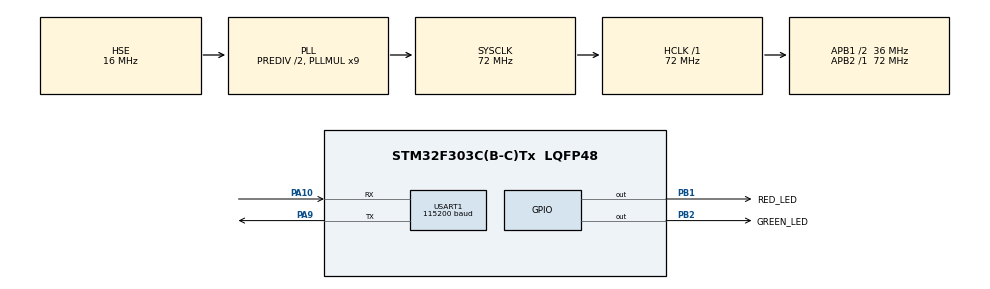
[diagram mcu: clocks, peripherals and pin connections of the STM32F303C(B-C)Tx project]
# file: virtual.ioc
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Mcu.Family=STM32F3
Mcu.Name=STM32F303C(B-C)Tx
Mcu.Package=LQFP48
NVIC.PriorityGroup=NVIC_PRIORITYGROUP_4
PA10.Mode=Asynchronous
PA10.Signal=USART1_RX
PA13.Mode=Serial_Wire
PA13.Signal=SYS_JTMS-SWDIO
PA14.Mode=Serial_Wire
PA14.Signal=SYS_JTCK-SWCLK
PA9.Mode=Asynchronous
PA9.Signal=USART1_TX
PB1.GPIO_Label=RED_LED
PB1.Signal=GPIO_Output
PB2.GPIO_Label=GREEN_LED
PB2.Signal=GPIO_Output
PF0-OSC_IN.Mode=HSE-External-Oscillator
PF0-OSC_IN.Signal=RCC_OSC_IN
PF1-OSC_OUT.Mode=HSE-External-Oscillator
PF1-OSC_OUT.Signal=RCC_OSC_OUT
ProjectManager.HeapSize=0x200
ProjectManager.StackSize=0x400
ProjectManager.TargetToolchain=MDK-ARM V5.32
RCC.AHBFreq_Value=72000000
RCC.APB1CLKDivider=RCC_HCLK_DIV2
RCC.APB1Freq_Value=36000000
RCC.APB1TimFreq_Value=72000000
RCC.APB2Freq_Value=72000000
RCC.APB2TimFreq_Value=72000000
RCC.CortexFreq_Value=72000000
RCC.HCLKFreq_Value=72000000
RCC.HSE_VALUE=16000000
RCC.HSI_VALUE=8000000
RCC.LSE_VALUE=32768
RCC.PLLMUL=RCC_PLL_MUL9
RCC.PLLSourceVirtual=RCC_PLLSOURCE_HSE
RCC.RCC_PLLsource_Clock_Source_FROM_HSE=RCC_HSE_PREDIV_DIV2
RCC.SYSCLKFreq_VALUE=72000000
RCC.SYSCLKSourceVirtual=RCC_SYSCLKSOURCE_PLLCLK
RCC.USBFreq_Value=72000000
USART1.BaudRate=115200
USART1.VirtualMode-Asynchronous=VM_ASYNC
board=custom

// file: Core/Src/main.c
/* USER CODE BEGIN Header */
/**
  ******************************************************************************
  * @file           : main.c
  * @brief          : Main program body
  ******************************************************************************
  * @attention
  *
  * Copyright (c) 2023 STMicroelectronics.
  * All rights reserved.
  *
  * This software is licensed under terms that can be found in the LICENSE file
  * in the root directory of this software component.
  * If no LICENSE file comes with this software, it is provided AS-IS.
  *
  ******************************************************************************
  */
/* USER CODE END Header */
#include "main.h"

/* USER CODE BEGIN Includes */
#include "stdio.h"
#include "eeprom.h"
/* USER CODE END Includes */

UART_HandleTypeDef huart1;

void SystemClock_Config(void);
static void MX_GPIO_Init(void);
static void MX_USART1_UART_Init(void);

/* USER CODE BEGIN 0 */

#ifdef __GNUC__
/* With GCC, small printf (option LD Linker->Libraries->Small printf
   set to 'Yes') calls __io_putchar() */
#define PUTCHAR_PROTOTYPE int __io_putchar(int ch)
#else
#define PUTCHAR_PROTOTYPE int fputc(int ch, FILE *f)
#endif /* __GNUC__ */

/**
  * @brief  Retargets the C library printf function to the USART.
  * @param  None
  * @retval None
  */
PUTCHAR_PROTOTYPE
{
  /* Place your implementation of fputc here */
  /* e.g. write a character to the USART2 and Loop until the end of transmission */
  HAL_UART_Transmit(&huart1, (uint8_t *)&ch, 1, 0xFFFF);

  return ch;
}

uint16_t VirtAddVarTab[NB_OF_VAR];
uint16_t VarDataTab[NB_OF_VAR] = {0x00, 0x01, 0x02, 0x03, 0x04, 0x05, 0x06, 0x07, 0x08, 0x09, 0x0A, 0x0B, 0x0C, 0x0D, 0x0E, 0x0F, 0x10, 0x11, 0x12, 0x13, 0x14, 0x15, 0x16, 0x17, 0x18, 0x19, 0xA0, 0xB0, 0xC0, 0xD0, 0xE0};
uint8_t VarDataTabRead[NB_OF_VAR];
uint16_t VarIndex,VarDataTmp = 0;

/* USER CODE END 0 */

int main(void)
{

  /* MCU Configuration--------------------------------------------------------*/

  /* Reset of all peripherals, Initializes the Flash interface and the Systick. */
  HAL_Init();

  /* Configure the system clock */
  SystemClock_Config();

  /* Initialize all configured peripherals */
  MX_GPIO_Init();
  MX_USART1_UART_Init();
  /* USER CODE BEGIN 2 */

	HAL_FLASH_Unlock();

	HAL_GPIO_WritePin(GREEN_LED_GPIO_Port, GREEN_LED_Pin, GPIO_PIN_RESET);

	/* EEPROM Init */
	if( EE_Init() != HAL_OK)
	{
	  Error_Handler();
	}

		// Fill EEPROM variables addresses
	for(VarIndex = 1; VarIndex <= NB_OF_VAR; VarIndex++)
	{
		  VirtAddVarTab[VarIndex-1] = VarIndex;
	}

	// Store Values in EEPROM emulation
	printf( "Store values\n\r");

	for (VarIndex = 0; VarIndex < NB_OF_VAR; VarIndex++)
		VarDataTab[VarIndex] = VarIndex;

	HAL_GPIO_WritePin(GREEN_LED_GPIO_Port, GREEN_LED_Pin, GPIO_PIN_RESET);
	for (VarIndex = 0; VarIndex < NB_OF_VAR; VarIndex++)
	{
    /* Sequence 1 */
		if((EE_WriteVariable(VirtAddVarTab[VarIndex],  VarDataTab[VarIndex])) != HAL_OK)
		{
			Error_Handler();
		}
	}
	HAL_GPIO_WritePin(GREEN_LED_GPIO_Port, GREEN_LED_Pin, GPIO_PIN_SET);

	// Read values
	printf("Read values\n\r");
	HAL_GPIO_WritePin(GREEN_LED_GPIO_Port, GREEN_LED_Pin, GPIO_PIN_RESET);
	for (VarIndex = 0; VarIndex < NB_OF_VAR; VarIndex++)
	{
		  if((EE_ReadVariable(VirtAddVarTab[VarIndex],  (uint16_t *)&VarDataTabRead[VarIndex])) != HAL_OK)
		  {
			  Error_Handler();
		  }
	}
	HAL_GPIO_WritePin(GREEN_LED_GPIO_Port, GREEN_LED_Pin, GPIO_PIN_SET);

	printf("Read table: ");
	HAL_UART_Transmit(&huart1, VarDataTabRead, NB_OF_VAR, 1000);
	printf("\n\r");

  /* USER CODE END 2 */

  /* Infinite loop */
  /* USER CODE BEGIN WHILE */
  while (1)
  {
		HAL_GPIO_TogglePin(GPIOB, GPIO_PIN_2);
		printf("labas\n");
		HAL_Delay(1000);
    /* USER CODE END WHILE */

  }
}

void SystemClock_Config(void)
{
  RCC_OscInitTypeDef RCC_OscInitStruct = {0};
  RCC_ClkInitTypeDef RCC_ClkInitStruct = {0};
  RCC_PeriphCLKInitTypeDef PeriphClkInit = {0};

  /** Initializes the RCC Oscillators according to the specified parameters
  * in the RCC_OscInitTypeDef structure.
  */
  RCC_OscInitStruct.OscillatorType = RCC_OSCILLATORTYPE_HSE;
  RCC_OscInitStruct.HSEState = RCC_HSE_ON;
  RCC_OscInitStruct.HSEPredivValue = RCC_HSE_PREDIV_DIV2;
  RCC_OscInitStruct.HSIState = RCC_HSI_ON;
  RCC_OscInitStruct.PLL.PLLState = RCC_PLL_ON;
  RCC_OscInitStruct.PLL.PLLSource = RCC_PLLSOURCE_HSE;
  RCC_OscInitStruct.PLL.PLLMUL = RCC_PLL_MUL9;
  if (HAL_RCC_OscConfig(&RCC_OscInitStruct) != HAL_OK)
  {
    Error_Handler();
  }

  /** Initializes the CPU, AHB and APB buses clocks
  */
  RCC_ClkInitStruct.ClockType = RCC_CLOCKTYPE_HCLK|RCC_CLOCKTYPE_SYSCLK
                              |RCC_CLOCKTYPE_PCLK1|RCC_CLOCKTYPE_PCLK2;
  RCC_ClkInitStruct.SYSCLKSource = RCC_SYSCLKSOURCE_PLLCLK;
  RCC_ClkInitStruct.AHBCLKDivider = RCC_SYSCLK_DIV1;
  RCC_ClkInitStruct.APB1CLKDivider = RCC_HCLK_DIV2;
  RCC_ClkInitStruct.APB2CLKDivider = RCC_HCLK_DIV1;

  if (HAL_RCC_ClockConfig(&RCC_ClkInitStruct, FLASH_LATENCY_2) != HAL_OK)
  {
    Error_Handler();
  }
  PeriphClkInit.PeriphClockSelection = RCC_PERIPHCLK_USART1;
  PeriphClkInit.Usart1ClockSelection = RCC_USART1CLKSOURCE_PCLK2;
  if (HAL_RCCEx_PeriphCLKConfig(&PeriphClkInit) != HAL_OK)
  {
    Error_Handler();
  }
}

static void MX_USART1_UART_Init(void)
{

  huart1.Instance = USART1;
  huart1.Init.BaudRate = 115200;
  huart1.Init.WordLength = UART_WORDLENGTH_8B;
  huart1.Init.StopBits = UART_STOPBITS_1;
  huart1.Init.Parity = UART_PARITY_NONE;
  huart1.Init.Mode = UART_MODE_TX_RX;
  huart1.Init.HwFlowCtl = UART_HWCONTROL_NONE;
  huart1.Init.OverSampling = UART_OVERSAMPLING_16;
  huart1.Init.OneBitSampling = UART_ONE_BIT_SAMPLE_DISABLE;
  huart1.AdvancedInit.AdvFeatureInit = UART_ADVFEATURE_NO_INIT;
  if (HAL_UART_Init(&huart1) != HAL_OK)
  {
    Error_Handler();
  }

}

static void MX_GPIO_Init(void)
{
  GPIO_InitTypeDef GPIO_InitStruct = {0};

  /* GPIO Ports Clock Enable */
  __HAL_RCC_GPIOF_CLK_ENABLE();
  __HAL_RCC_GPIOB_CLK_ENABLE();
  __HAL_RCC_GPIOA_CLK_ENABLE();

  /*Configure GPIO pin Output Level */
  HAL_GPIO_WritePin(GPIOB, RED_LED_Pin|GREEN_LED_Pin, GPIO_PIN_RESET);

  /*Configure GPIO pins : RED_LED_Pin GREEN_LED_Pin */
  GPIO_InitStruct.Pin = RED_LED_Pin|GREEN_LED_Pin;
  GPIO_InitStruct.Mode = GPIO_MODE_OUTPUT_PP;
  GPIO_InitStruct.Pull = GPIO_NOPULL;
  GPIO_InitStruct.Speed = GPIO_SPEED_FREQ_LOW;
  HAL_GPIO_Init(GPIOB, &GPIO_InitStruct);

}

void Error_Handler(void)
{
  /* USER CODE BEGIN Error_Handler_Debug */
  /* User can add his own implementation to report the HAL error return state */
  __disable_irq();
  while (1)
  {
		HAL_GPIO_WritePin(GPIOB, GPIO_PIN_1, GPIO_PIN_SET);
  }
  /* USER CODE END Error_Handler_Debug */
}
